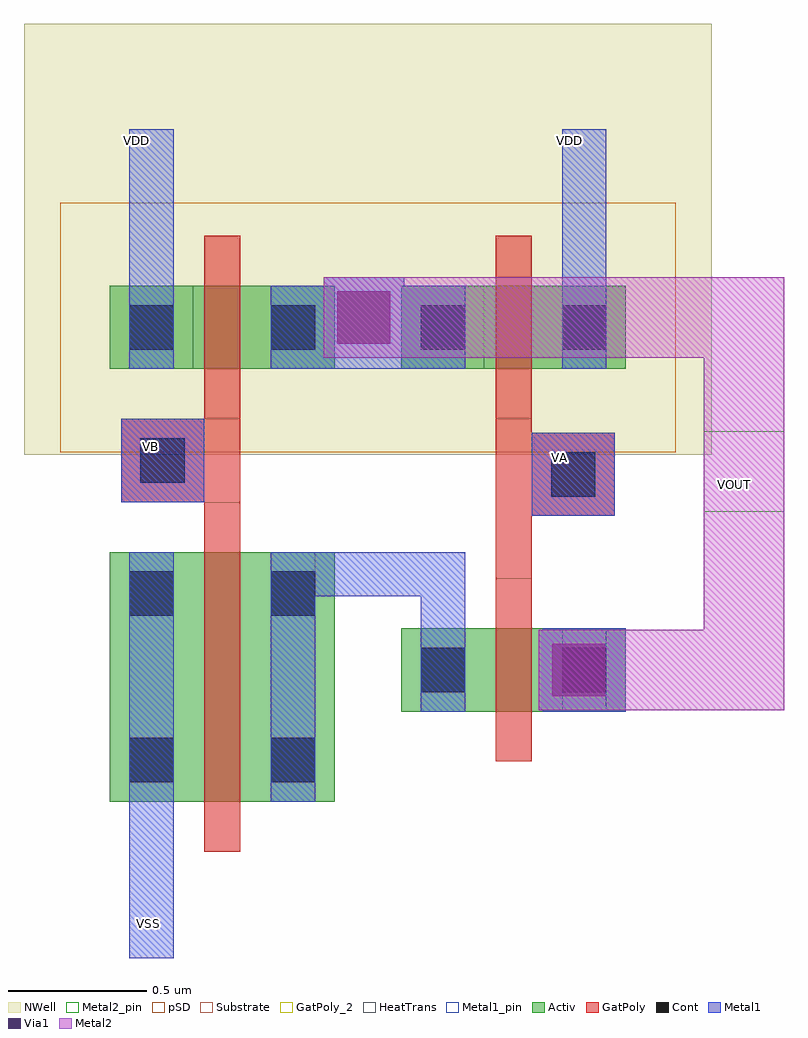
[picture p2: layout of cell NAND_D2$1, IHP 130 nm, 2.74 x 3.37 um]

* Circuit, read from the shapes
.subckt NAND_D2$1 VA VB VDD VOUT VSS
XM1 n1 VB VSS VSUBS sg13_lv_nmos w=0.9u l=0.13u
XM2 VOUT VA n1 VSUBS sg13_lv_nmos w=0.3u l=0.13u
XM3 VOUT VB VDD n2 sg13_lv_pmos w=0.3u l=0.13u
XM4 VDD VA VOUT n2 sg13_lv_pmos w=0.3u l=0.13u
.ends

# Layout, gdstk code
from math import pi, radians
import gdstk
lib = gdstk.Library(unit=1e-6, precision=5e-09)
def R(c, l, rs):  # rectangles x0, y0, x1, y1
    for r in rs: c.add(gdstk.rectangle(r[:2], r[2:], *l))
Activ = (1, 0)
GatPoly = (5, 0)
GatPoly_2 = (5, 2)
Cont = (6, 0)
Metal1 = (8, 0)
Metal1_pin = (8, 2)
Metal2 = (10, 0)
Metal2_pin = (10, 2)
pSD = (14, 0)
Via1 = (19, 0)
NWell = (31, 0)
Substrate = (40, 0)
HeatTrans = (51, 0)

pmos_2_2 = lib.new_cell('pmos$2$2')
R(pmos_2_2, Activ, [(0,0,0.3,0.3), (0,0,0.81,0.3), (0.51,0,0.81,0.3)])
R(pmos_2_2, GatPoly, [(0.34,-0.18,0.47,0.48), (0.34,-0.18,0.47,0.48)])
R(pmos_2_2, Cont, [(0.07,0.07,0.23,0.23), (0.58,0.07,0.74,0.23)])
R(pmos_2_2, Metal1, [(0.07,0,0.23,0.3), (0.07,0,0.23,0.3), (0.58,0,0.74,0.3), (0.58,0,0.74,0.3)])
R(pmos_2_2, pSD, [(-0.18,-0.3,0.99,0.6)])
R(pmos_2_2, NWell, [(-0.31,-0.31,1.12,0.61)])
R(pmos_2_2, Substrate, [(0.51,0,0.81,0.3)])
R(pmos_2_2, HeatTrans, [(0.34,-0.18,0.47,0.48)])
pmos_2_2.add(gdstk.Label('pmos', (0.405,0.15), layer=63, texttype=0))
pmos_2_2.add(gdstk.Label('pmos', (0.405,0.15), layer=51, texttype=0))

nmos_2_2 = lib.new_cell('nmos$2$2')
R(nmos_2_2, Activ, [(0,0,0.3,0.3), (0,0,0.81,0.3), (0.51,0,0.81,0.3)])
R(nmos_2_2, GatPoly, [(0.34,-0.18,0.47,0.48)])
R(nmos_2_2, GatPoly_2, [(0.34,-0.18,0.47,0.48)])
R(nmos_2_2, Cont, [(0.07,0.07,0.23,0.23), (0.58,0.07,0.74,0.23)])
R(nmos_2_2, Metal1, [(0.07,0,0.23,0.3), (0.58,0,0.74,0.3)])
R(nmos_2_2, Metal1_pin, [(0.07,0,0.23,0.3), (0.58,0,0.74,0.3)])
R(nmos_2_2, HeatTrans, [(0.34,-0.18,0.47,0.48)])
nmos_2_2.add(gdstk.Label('nmos', (0.405,0.15), layer=63, texttype=0))
nmos_2_2.add(gdstk.Label('nmos', (0.405,0.15), layer=51, texttype=0))

nmos_1_1_5 = lib.new_cell('nmos$1$1$5')
R(nmos_1_1_5, Activ, [(0,0,0.3,0.3), (0,0,0.81,0.9), (0.51,0,0.81,0.3)])
R(nmos_1_1_5, GatPoly, [(0.34,-0.18,0.47,1.08)])
R(nmos_1_1_5, GatPoly_2, [(0.34,-0.18,0.47,1.08)])
R(nmos_1_1_5, Cont, [(0.07,0.07,0.23,0.23), (0.58,0.07,0.74,0.23), (0.07,0.67,0.23,0.83), (0.58,0.67,0.74,0.83)])
R(nmos_1_1_5, Metal1, [(0.07,0,0.23,0.9), (0.58,0,0.74,0.9)])
R(nmos_1_1_5, Metal1_pin, [(0.07,0,0.23,0.9), (0.58,0,0.74,0.9)])
R(nmos_1_1_5, HeatTrans, [(0.34,-0.18,0.47,1.08)])
nmos_1_1_5.add(gdstk.Label('nmos', (0.405,0.45), layer=63, texttype=0))
nmos_1_1_5.add(gdstk.Label('nmos', (0.405,0.45), layer=51, texttype=0))

via1_constraint_1_9 = lib.new_cell('Via1_constraint$1$9')
R(via1_constraint_1_9, Metal1, [(-0.02,0,0.27,0.29)])
R(via1_constraint_1_9, Metal2, [(-0.02,0,0.27,0.29)])
R(via1_constraint_1_9, Via1, [(0.03,0.05,0.22,0.24)])

nand_d2_1 = lib.new_cell('NAND_D2$1')
R(nand_d2_1, GatPoly, [(1.45,0.315,1.58,1.07), (0.4,0.655,0.53,1.07), (1.58,0.72,1.88,1.02), (0.1,0.77,0.4,1.07)])
R(nand_d2_1, Cont, [(1.65,0.79,1.81,0.95), (0.17,0.84,0.33,1)])
R(nand_d2_1, Metal1, [(0.13,-0.875,0.29,-0.31), (1.62,0.015,1.92,0.315), (1.69,0.015,1.89,0.315), (1.58,0.72,1.88,1.02), (0.1,0.77,0.4,1.07), (0.64,1.25,1.34,1.55), (0.13,1.55,0.29,2.115), (1.69,1.55,1.85,2.115)])
R(nand_d2_1, Metal1_pin, [(1.58,0.72,1.88,1.02), (0.1,0.77,0.4,1.07)])
R(nand_d2_1, Metal2, [(1.625,0.02,2.49,0.31), (2.2,0.02,2.49,1.58), (0.85,1.29,2.2,1.58)])
R(nand_d2_1, Metal2_pin, [(2.2,0.735,2.49,1.025)])
R(nand_d2_1, NWell, [(-0.25,1.86,2.23,2.495)])
nand_d2_1.add(gdstk.FlexPath([(1.26,0.305),(1.26,0.51),(0.72,0.51),(0.72,0.315)], 0.16, ends="flush", simple_path=True, layer=8, datatype=0))  # Metal1
nand_d2_1.add(gdstk.Reference(pmos_2_2, (1.92,1.25), rotation=pi, x_reflection=True))
nand_d2_1.add(gdstk.Reference(pmos_2_2, (0.87,1.25), rotation=pi, x_reflection=True))
nand_d2_1.add(gdstk.Reference(nmos_2_2, (1.92,0.015), rotation=pi, x_reflection=True))
nand_d2_1.add(gdstk.Reference(nmos_1_1_5, (0.87,-0.31), rotation=pi, x_reflection=True))
nand_d2_1.add(gdstk.Reference(via1_constraint_1_9, (1.625,0.02)))
nand_d2_1.add(gdstk.Reference(via1_constraint_1_9, (0.85,1.29)))
nand_d2_1.add(gdstk.Label('VSS', (0.2,-0.75), layer=8, texttype=2))
nand_d2_1.add(gdstk.Label('VA', (1.68,0.93), layer=8, texttype=2))
nand_d2_1.add(gdstk.Label('VB', (0.205,0.97), layer=8, texttype=2))
nand_d2_1.add(gdstk.Label('VDD', (1.715,2.075), layer=8, texttype=2))
nand_d2_1.add(gdstk.Label('VDD', (0.155,2.075), layer=8, texttype=2))
nand_d2_1.add(gdstk.Label('VOUT', (2.31,0.835), layer=10, texttype=25))

lib.write_gds('NAND_D2_1.gds')
